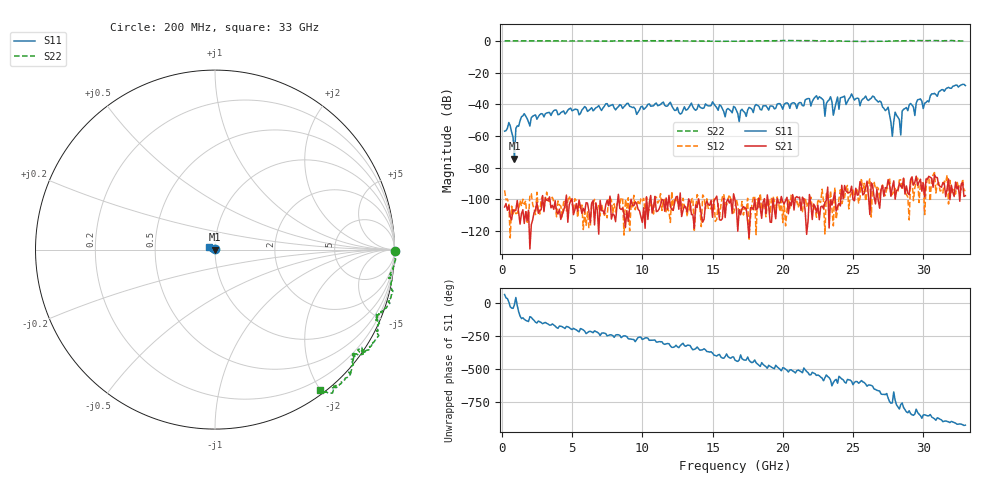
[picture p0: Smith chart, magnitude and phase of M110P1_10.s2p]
# GHZ S RI R 50
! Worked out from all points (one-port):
!   329 points, 200 MHz to 33 GHz, reference 50 ohm
!   lowest |S11| = -74.4 dB at 900 MHz (marker M1), VSWR 1.00, Z = 50 - j0.0036 ohm
!   |S11| at or under -10 dB: start of sweep to end of sweep
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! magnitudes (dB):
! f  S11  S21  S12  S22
! 200 MHz  -57.0  -104.9  -94.4  0.0
! 600 MHz  -53.7  -111.0  -124.5  0.0
! 900 MHz  -74.4  -107.4  -106.7  0.0
! 1 GHz  -55.4  -107.0  -109.2  0.0
! 1.6 GHz  -46.0  -115.3  -103.2  0.0
! 5.7 GHz  -43.7  -108.9  -103.7  -0.1
! 11.2 GHz  -40.7  -106.1  -101.0  0.1
! 16.6 GHz  -42.0  -100.4  -105.2  -0.2
! 16.9 GHz  -51.1  -106.6  -110.1  -0.2
! 22.1 GHz  -38.3  -112.9  -105.7  0.2
! 23 GHz  -47.6  -102.1  -122.0  0.1
! 23.4 GHz  -35.3  -100.5  -94.7  -0.3
! 23.6 GHz  -47.0  -99.9  -116.8  0.0
! 23.9 GHz  -35.5  -104.8  -107.0  -0.1
! 26.4 GHz  -34.9  -91.6  -89.3  -0.3
! 27.6 GHz  -46.5  -90.7  -86.6  -0.1
! 27.8 GHz  -60.3  -92.4  -97.0  -0.1
! 28 GHz  -45.0  -100.1  -93.2  0.0
! 28.4 GHz  -59.4  -91.8  -87.7  0.0
! 28.5 GHz  -44.4  -93.0  -94.0  0.1
! 29.1 GHz  -39.5  -87.5  -88.7  0.2
! 33 GHz  -28.2  -97.8  -94.4  -0.2
